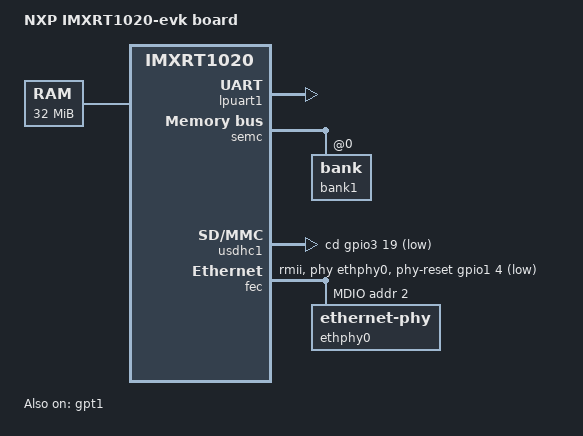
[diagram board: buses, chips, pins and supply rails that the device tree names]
// SPDX-License-Identifier: (GPL-2.0+ OR BSD-3-Clause)
/*
 * Copyright (C) 2020
 * Author(s): Giulio Benetti <giulio.benetti@benettiengineering.com>
 * Copyright (C) 2023 Emcraft Systems
 * Author(s): Vladimir Skvortsov <vskvortsov@emcraft.com>
 */

/dts-v1/;
#include "imxrt1020.dtsi"
#include "imxrt1020-pinfunc.h"

/ {
	model = "NXP IMXRT1020-evk board";
	compatible = "fsl,imxrt1020-evk", "fsl,imxrt1020";

	chosen {
		bootargs = "root=/dev/ram";
		stdout-path = "serial0:115200n8";
		tick-timer = &gpt1;
	};

	memory {
		device_type = "memory";
		reg = <0x80000000 0x2000000>;
	};
};

&lpuart1 { /* console */
	pinctrl-names = "default";
	pinctrl-0 = <&pinctrl_lpuart1>;
	status = "okay";
};

&semc {
	/*
	 * Memory configuration from sdram datasheet IS42S16160J-6TLI
	 */
	fsl,sdram-mux = /bits/ 8 <MUX_A8_SDRAM_A8
				MUX_CSX0_SDRAM_CS1
				0
				0
				0
				0>;
	fsl,sdram-control = /bits/ 8 <MEM_WIDTH_16BITS
					BL_8
					COL_9BITS
					CL_3>;
	fsl,sdram-timing = /bits/ 8 <0x2
				     0x2
				     0x9
				     0x1
				     0x5
				     0x6

				     0x20
				     0x09
				     0x01
				     0x00

				     0x04
				     0x0A
				     0x21
				     0x50>;

	bank1: bank@0 {
		fsl,base-address = <0x80000000>;
		fsl,memory-size = <MEM_SIZE_32M>;
	};
};

&iomuxc {
	pinctrl-names = "default";
	pinctrl-0 = <&pinctrl_lpuart1>;

	imxrt1020-evk {
		pinctrl_lpuart1: lpuart1grp {
			fsl,pins = <
				MXRT1020_IOMUXC_GPIO_AD_B0_06_LPUART1_TX
					0xf1
				MXRT1020_IOMUXC_GPIO_AD_B0_07_LPUART1_RX
					0xf1
			>;
		};

		pinctrl_semc: semcgrp {
			fsl,pins = <
				MXRT1020_IOMUXC_GPIO_EMC_00_SEMC_DA00
					0xf1	/* SEMC_D0 */
				MXRT1020_IOMUXC_GPIO_EMC_01_SEMC_DA01
					0xf1	/* SEMC_D1 */
				MXRT1020_IOMUXC_GPIO_EMC_02_SEMC_DA02
					0xf1	/* SEMC_D2 */
				MXRT1020_IOMUXC_GPIO_EMC_03_SEMC_DA03
					0xf1	/* SEMC_D3 */
				MXRT1020_IOMUXC_GPIO_EMC_04_SEMC_DA04
					0xf1	/* SEMC_D4 */
				MXRT1020_IOMUXC_GPIO_EMC_05_SEMC_DA05
					0xf1	/* SEMC_D5 */
				MXRT1020_IOMUXC_GPIO_EMC_06_SEMC_DA06
					0xf1	/* SEMC_D6 */
				MXRT1020_IOMUXC_GPIO_EMC_07_SEMC_DA07
					0xf1	/* SEMC_D7 */
				MXRT1020_IOMUXC_GPIO_EMC_08_SEMC_DM00
					0xf1	/* SEMC_DM0 */
				MXRT1020_IOMUXC_GPIO_EMC_09_SEMC_ADDR00
					0xf1	/* SEMC_A0 */
				MXRT1020_IOMUXC_GPIO_EMC_10_SEMC_CAS
					0xf1	/* SEMC_CAS */
				MXRT1020_IOMUXC_GPIO_EMC_11_SEMC_RAS
					0xf1	/* SEMC_RAS */
				MXRT1020_IOMUXC_GPIO_EMC_12_SEMC_CS0
					0xf1	/* SEMC_CS0 */
				MXRT1020_IOMUXC_GPIO_EMC_13_SEMC_BA0
					0xf1	/* SEMC_BA0 */
				MXRT1020_IOMUXC_GPIO_EMC_14_SEMC_BA1
					0xf1	/* SEMC_BA1 */
				MXRT1020_IOMUXC_GPIO_EMC_15_SEMC_ADDR10
					0xf1	/* SEMC_A10 */
				MXRT1020_IOMUXC_GPIO_EMC_16_SEMC_ADDR00
					0xf1	/* SEMC_A0 */
				MXRT1020_IOMUXC_GPIO_EMC_17_SEMC_ADDR01
					0xf1	/* SEMC_A1 */
				MXRT1020_IOMUXC_GPIO_EMC_18_SEMC_ADDR02
					0xf1	/* SEMC_A2 */
				MXRT1020_IOMUXC_GPIO_EMC_19_SEMC_ADDR03
					0xf1	/* SEMC_A3 */
				MXRT1020_IOMUXC_GPIO_EMC_20_SEMC_ADDR04
					0xf1	/* SEMC_A4 */
				MXRT1020_IOMUXC_GPIO_EMC_21_SEMC_ADDR05
					0xf1	/* SEMC_A5 */
				MXRT1020_IOMUXC_GPIO_EMC_22_SEMC_ADDR06
					0xf1	/* SEMC_A6 */
				MXRT1020_IOMUXC_GPIO_EMC_23_SEMC_ADDR07
					0xf1	/* SEMC_A7 */
				MXRT1020_IOMUXC_GPIO_EMC_24_SEMC_ADDR08
					0xf1	/* SEMC_A8 */
				MXRT1020_IOMUXC_GPIO_EMC_25_SEMC_ADDR09
					0xf1	/* SEMC_A9 */
				MXRT1020_IOMUXC_GPIO_EMC_26_SEMC_ADDR11
					0xf1	/* SEMC_A11 */
				MXRT1020_IOMUXC_GPIO_EMC_27_SEMC_ADDR12
					0xf1	/* SEMC_A12 */
				MXRT1020_IOMUXC_GPIO_EMC_28_SEMC_DQS
					(IMX_PAD_SION | 0xf1)	/* SEMC_DQS */
				MXRT1020_IOMUXC_GPIO_EMC_29_SEMC_CKE
					0xf1	/* SEMC_CKE */
				MXRT1020_IOMUXC_GPIO_EMC_30_SEMC_CLK
					0xf1	/* SEMC_CLK */
				MXRT1020_IOMUXC_GPIO_EMC_31_SEMC_DM01
					0xf1	/* SEMC_DM01 */
				MXRT1020_IOMUXC_GPIO_EMC_32_SEMC_DATA08
					0xf1	/* SEMC_D8 */
				MXRT1020_IOMUXC_GPIO_EMC_33_SEMC_DATA09
					0xf1	/* SEMC_D9 */
				MXRT1020_IOMUXC_GPIO_EMC_34_SEMC_DATA10
					0xf1	/* SEMC_D10 */
				MXRT1020_IOMUXC_GPIO_EMC_35_SEMC_DATA11
					0xf1	/* SEMC_D11 */
				MXRT1020_IOMUXC_GPIO_EMC_36_SEMC_DATA12
					0xf1	/* SEMC_D12 */
				MXRT1020_IOMUXC_GPIO_EMC_37_SEMC_DATA13
					0xf1	/* SEMC_D13 */
				MXRT1020_IOMUXC_GPIO_EMC_38_SEMC_DATA14
					0xf1	/* SEMC_D14 */
				MXRT1020_IOMUXC_GPIO_EMC_39_SEMC_DATA15
					0xf1	/* SEMC_D15 */
			>;
		};

		pinctrl_usdhc0: usdhc0grp {
			fsl,pins = <
				MXRT1020_IOMUXC_GPIO_SD_B0_06_USDHC1_CD_B
					0x1B000
				MXRT1020_IOMUXC_GPIO_SD_B0_02_USDHC1_CMD
					0x17061
				MXRT1020_IOMUXC_GPIO_SD_B0_03_USDHC1_CLK
					0x17061
				MXRT1020_IOMUXC_GPIO_SD_B0_01_USDHC1_DATA3
					0x17061
				MXRT1020_IOMUXC_GPIO_SD_B0_00_USDHC1_DATA2
					0x17061
				MXRT1020_IOMUXC_GPIO_SD_B0_05_USDHC1_DATA1
					0x17061
				MXRT1020_IOMUXC_GPIO_SD_B0_04_USDHC1_DATA0
					0x17061
			>;
		};

		pinctrl_fec: fecgrp {
			fsl,pins = <
				MXRT1020_IOMUXC_GPIO_AD_B0_08_ENET_REF_CLK1	(IMX_PAD_SION | 0xB0E9)
				MXRT1020_IOMUXC_GPIO_AD_B0_09_ENET_RDATA01	(IMX_PAD_SION | 0xB0E9)
				MXRT1020_IOMUXC_GPIO_AD_B0_10_ENET_RDATA00	(IMX_PAD_SION | 0xB0E9)
				MXRT1020_IOMUXC_GPIO_AD_B0_11_ENET_RX_EN	0xB0E9
				MXRT1020_IOMUXC_GPIO_AD_B0_12_ENET_RX_ER	0xB0E9
				MXRT1020_IOMUXC_GPIO_AD_B0_13_ENET_TX_EN	0xB0E9
				MXRT1020_IOMUXC_GPIO_AD_B0_14_ENET_TDATA00	0xB0E9
				MXRT1020_IOMUXC_GPIO_AD_B0_15_ENET_TDATA01	0xB0E9
				MXRT1020_IOMUXC_GPIO_EMC_40_ENET_MDIO		0xB0E9
				MXRT1020_IOMUXC_GPIO_EMC_41_ENET_MDC		0xB0E9
				/* RST */
				MXRT1020_IOMUXC_GPIO_AD_B0_04_GPIO1_IO04	0xB0A9
				/* INT */
				MXRT1020_IOMUXC_GPIO_AD_B1_06_GPIO1_IO22	0xB0E9
			>;
		};
	};
};

&gpt1 {
	status = "okay";
};

&usdhc1 {
	pinctrl-names = "default", "state_100mhz", "state_200mhz", "sleep";
	pinctrl-0 = <&pinctrl_usdhc0>;
	pinctrl-1 = <&pinctrl_usdhc0>;
	pinctrl-2 = <&pinctrl_usdhc0>;
	pinctrl-3 = <&pinctrl_usdhc0>;
	status = "okay";

	cd-gpios = <&gpio3 19 GPIO_ACTIVE_LOW>;
};

&fec {
	pinctrl-names = "default";
	pinctrl-0 = <&pinctrl_fec>;

	status = "okay";
	phy-mode = "rmii";

	phy-handle = <&ethphy0>;
	phy-reset-duration = <1>;
	phy-reset-gpios = <&gpio1 4 GPIO_ACTIVE_LOW>;

	clocks = <&clks IMXRT1020_CLK_ENET>, <&clks IMXRT1020_CLK_ENET_REF>;
	clock-names = "ipg", "enet_clk_ref";

	mdio {
		#address-cells = <1>;
		#size-cells = <0>;

		ethphy0: ethernet-phy@2 {
			reg = <2>;
			micrel,led-mode = <1>;
		};
	};
};
